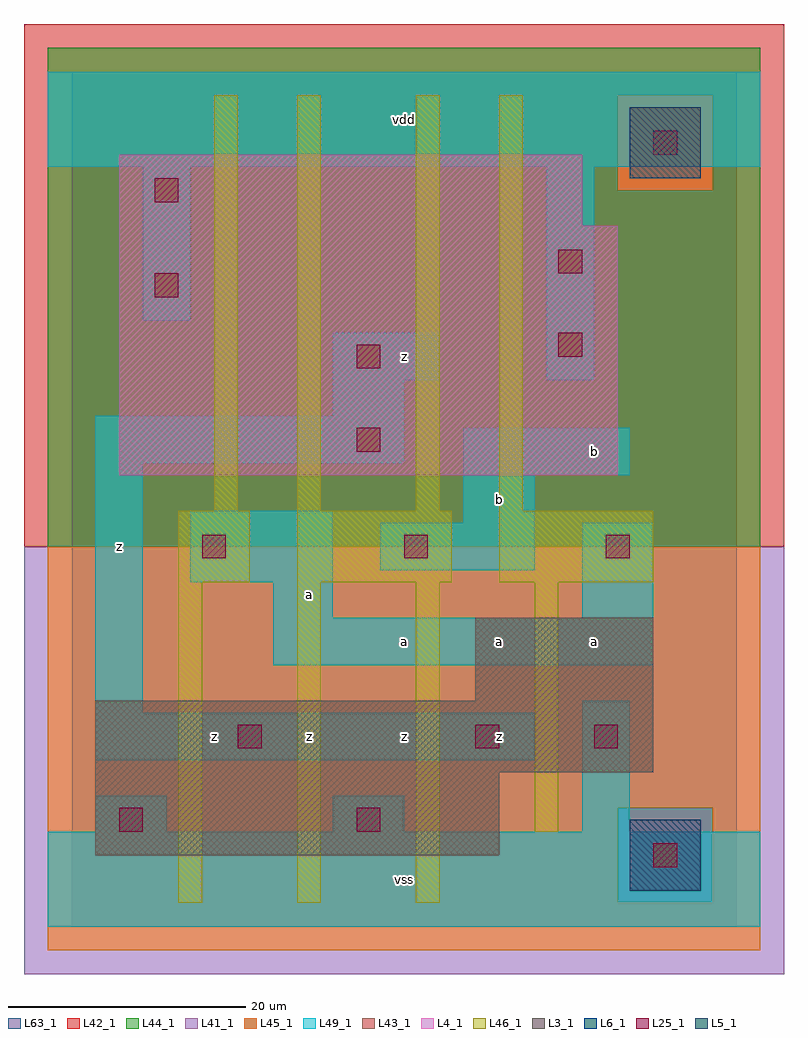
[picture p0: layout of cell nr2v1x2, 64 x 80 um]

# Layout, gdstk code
import gdstk
lib = gdstk.Library(unit=1e-6, precision=1e-09)
def R(c, l, rs):  # rectangles x0, y0, x1, y1
    for r in rs: c.add(gdstk.rectangle(r[:2], r[2:], *l))
def A(c, l, x, y, w, h, nx, ny, dx, dy):  # array of equal rectangles
    R(c, l, [(x+i*dx, y+j*dy, x+i*dx+w, y+j*dy+h) for i in range(nx) for j in range(ny)])
L3_1 = (3, 1)
L4_1 = (4, 1)
L5_1 = (5, 1)
L6_1 = (6, 1)
L25_1 = (25, 1)
L41_1 = (41, 1)
L42_1 = (42, 1)
L43_1 = (43, 1)
L44_1 = (44, 1)
L45_1 = (45, 1)
L46_1 = (46, 1)
L49_1 = (49, 1)
L63_1 = (63, 1)

nr2v1x2 = lib.new_cell('nr2v1x2')
R(nr2v1x2, L3_1, [(2,6,36,13), (2,13,49,19), (34,19,49,26)])
R(nr2v1x2, L4_1, [(4,38,46,59), (4,59,43,65)])
R(nr2v1x2, L5_1, [(47,63,53,69)])
R(nr2v1x2, L6_1, [(47,3,53,9), (47,3,53,9)])
A(nr2v1x2, L25_1, 11, 31, 2, 2, 3, 1, 17, 0)
R(nr2v1x2, L25_1, [(49,5,51,7), (4,8,6,10), (24,8,26,10), (14,15,16,17), (34,15,36,17), (44,15,46,17), (24,40,26,42), (24,47,26,49), (41,48,43,50), (7,53,9,55), (41,55,43,57), (7,61,9,63), (49,65,51,67)])
R(nr2v1x2, L41_1, [(-4,-4,60,32)])
R(nr2v1x2, L42_1, [(-4,32,60,76)])
R(nr2v1x2, L43_1, [(47,3,53,9), (2,6,36,13), (2,13,49,19), (34,19,49,26), (4,38,46,59), (4,59,43,65), (47,63,53,69)])
R(nr2v1x2, L44_1, [(46,2,54,10), (-2,32,58,62), (-2,62,46,70), (54,62,58,70), (-2,70,58,74)])
R(nr2v1x2, L45_1, [(-2,-2,58,2), (-2,2,46,10), (54,2,58,10), (-2,10,58,32), (46,62,54,70)])
A(nr2v1x2, L46_1, 9, 2, 2, 27, 3, 1, 10, 0)
R(nr2v1x2, L46_1, [(39,8,41,29), (9,29,15,35), (19,29,32,35), (36,29,49,35), (12,35,14,70), (19,35,21,70), (29,35,31,70), (36,35,38,70)])
R(nr2v1x2, L49_1, [(-2,0,58,8), (2,8,8,11), (22,8,28,11), (43,8,47,19), (2,14,39,18), (2,18,6,39), (17,22,49,26), (17,26,22,29), (43,26,49,34), (10,29,22,35), (26,30,39,34), (33,34,39,38), (33,38,47,42), (2,39,28,43), (22,43,28,46), (22,46,31,50), (40,46,44,64), (6,51,10,64), (-2,64,58,72)])
R(nr2v1x2, L63_1, [(0,0,56,72)])
nr2v1x2.add(gdstk.Label('z', (4,32), layer=49, texttype=1))
nr2v1x2.add(gdstk.Label('z', (20,16), layer=49, texttype=1))
nr2v1x2.add(gdstk.Label('z', (12,16), layer=49, texttype=1))
nr2v1x2.add(gdstk.Label('a', (20,28), layer=49, texttype=1))
nr2v1x2.add(gdstk.Label('vss', (28,4), layer=49, texttype=1))
nr2v1x2.add(gdstk.Label('z', (36,16), layer=49, texttype=1))
nr2v1x2.add(gdstk.Label('z', (28,16), layer=49, texttype=1))
nr2v1x2.add(gdstk.Label('a', (28,24), layer=49, texttype=1))
nr2v1x2.add(gdstk.Label('a', (36,24), layer=49, texttype=1))
nr2v1x2.add(gdstk.Label('b', (36,36), layer=49, texttype=1))
nr2v1x2.add(gdstk.Label('z', (28,48), layer=49, texttype=1))
nr2v1x2.add(gdstk.Label('vdd', (28,68), layer=49, texttype=1))
nr2v1x2.add(gdstk.Label('a', (44,24), layer=49, texttype=1))
nr2v1x2.add(gdstk.Label('b', (44,40), layer=49, texttype=1))

lib.write_gds('nr2v1x2.gds')
